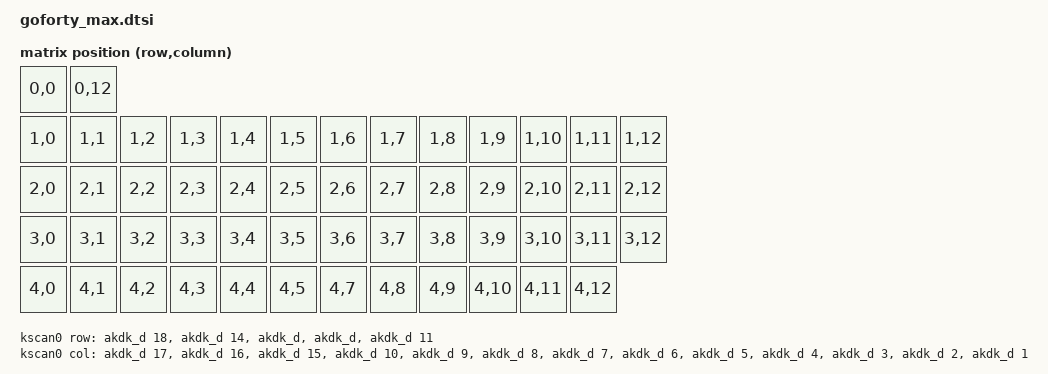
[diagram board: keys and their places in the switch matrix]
#include <dt-bindings/zmk/matrix_transform.h>
#include "goforty_max-layouts.dtsi"

/ {
    chosen {
        zmk,kscan = &kscan0;
        zmk,physical-layout = &physical_layout0;
    };

    kscan0: kscan {
        compatible = "zmk,kscan-gpio-matrix";
        diode-direction = "col2row";
        row-gpios = <&akdk_d 18 (GPIO_ACTIVE_HIGH | GPIO_PULL_DOWN)>,
            <&akdk_d 14 (GPIO_ACTIVE_HIGH | GPIO_PULL_DOWN)>,
            <&akdk_d 13(GPIO_ACTIVE_HIGH | GPIO_PULL_DOWN)>,
            <&akdk_d 12(GPIO_ACTIVE_HIGH | GPIO_PULL_DOWN)>,
            <&akdk_d 11 (GPIO_ACTIVE_HIGH | GPIO_PULL_DOWN)>;
        col-gpios = <&akdk_d 17 (GPIO_ACTIVE_HIGH)>,
            <&akdk_d 16 (GPIO_ACTIVE_HIGH)>,
            <&akdk_d 15 (GPIO_ACTIVE_HIGH)>,
            <&akdk_d 10 (GPIO_ACTIVE_HIGH)>,
            <&akdk_d 9 (GPIO_ACTIVE_HIGH)>,
            <&akdk_d 8 (GPIO_ACTIVE_HIGH)>,
            <&akdk_d 7 (GPIO_ACTIVE_HIGH)>,
            <&akdk_d 6 (GPIO_ACTIVE_HIGH)>,
            <&akdk_d 5 (GPIO_ACTIVE_HIGH)>,
            <&akdk_d 4 (GPIO_ACTIVE_HIGH)>,
            <&akdk_d 3 (GPIO_ACTIVE_HIGH)>,
            <&akdk_d 2 (GPIO_ACTIVE_HIGH)>,
            <&akdk_d 1 (GPIO_ACTIVE_HIGH)>;
    };

    default_transform: keymap_transform {
        compatible = "zmk,matrix-transform";
        rows = <5>;
        columns = <13>;
        map = <
            RC(0,0) RC(0,12)
            RC(1,0) RC(1,1) RC(1,2) RC(1,3) RC(1,4) RC(1,5) RC(1,6) RC(1,7) RC(1,8) RC(1,9) RC(1,10) RC(1,11) RC(1,12)
            RC(2,0) RC(2,1) RC(2,2) RC(2,3) RC(2,4) RC(2,5) RC(2,6) RC(2,7) RC(2,8) RC(2,9) RC(2,10) RC(2,11) RC(2,12)
            RC(3,0) RC(3,1) RC(3,2) RC(3,3) RC(3,4) RC(3,5) RC(3,6) RC(3,7) RC(3,8) RC(3,9) RC(3,10) RC(3,11) RC(3,12)
            RC(4,0) RC(4,1) RC(4,2) RC(4,3) RC(4,4) RC(4,5) RC(4,7) RC(4,8) RC(4,9) RC(4,10) RC(4,11) RC(4,12)
        >;
    };
};
